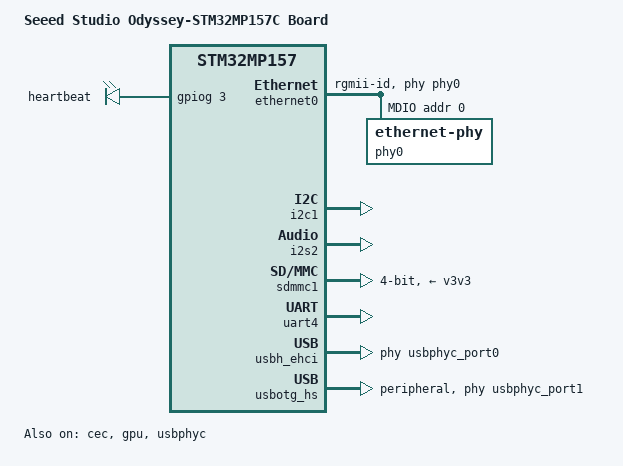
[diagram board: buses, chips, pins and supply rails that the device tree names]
// SPDX-License-Identifier: (GPL-2.0+ OR BSD-3-Clause)
/*
 * Copyright (C) 2020 Marcin Sloniewski <marcin.sloniewski@gmail.com>
 */

/dts-v1/;

#include "stm32mp157c-odyssey-som.dtsi"

/ {

	model = "Seeed Studio Odyssey-STM32MP157C Board";
	compatible = "seeed,odyssey-stm32mp157c", "st,stm32mp157";

	aliases {
		ethernet0 = &ethernet0;
		serial0 = &uart4;
	};

	chosen {
		stdout-path = "serial0:115200n8";
	};

	led {
		compatible = "gpio-leds";
		blue {
			label = "heartbeat";
			gpios = <&gpiog 3 GPIO_ACTIVE_HIGH>;
			linux,default-trigger = "heartbeat";
			default-state = "off";
		};
	};

};

&adc {
	pinctrl-names = "default";
	pinctrl-0 = <&adc12_ain_pins_a>, <&adc12_usb_cc_pins_a>;
	vdd-supply = <&vdd>;
	vdda-supply = <&vdd>;
	vref-supply = <&vrefbuf>;
	status = "disabled";
	adc1: adc@0 {
		/*
		 * Type-C USB_PWR_CC1 & USB_PWR_CC2 on in18 & in19.
		 * Use at least 5 * RC time, e.g. 5 * (Rp + Rd) * C:
		 * 5 * (56 + 47kOhms) * 5pF => 2.5us.
		 * Use arbitrary margin here (e.g. 5us).
		 */
		st,min-sample-time-nsecs = <5000>;
		/* AIN connector, USB Type-C CC1 & CC2 */
		st,adc-channels = <0 1 6 13 18 19>;
		status = "okay";
	};
	adc2: adc@100 {
		/* AIN connector, USB Type-C CC1 & CC2 */
		st,adc-channels = <0 1 2 6 18 19>;
		st,min-sample-time-nsecs = <5000>;
		status = "okay";
	};
};

&cec {
	pinctrl-names = "default", "sleep";
	pinctrl-0 = <&cec_pins_b>;
	pinctrl-1 = <&cec_sleep_pins_b>;
	status = "okay";
};

&ethernet0 {
	status = "okay";
	pinctrl-0 = <&ethernet0_rgmii_pins_a>;
	pinctrl-1 = <&ethernet0_rgmii_sleep_pins_a>;
	pinctrl-names = "default", "sleep";
	phy-mode = "rgmii-id";
	max-speed = <1000>;
	phy-handle = <&phy0>;

	mdio0 {
		#address-cells = <1>;
		#size-cells = <0>;
		compatible = "snps,dwmac-mdio";
		phy0: ethernet-phy@0 {
			reg = <0>;
		};
	};
};

&gpu {
	contiguous-area = <&gpu_reserved>;
	status = "okay";
};

&i2c1 {
	pinctrl-names = "default", "sleep";
	pinctrl-0 = <&i2c1_pins_a>;
	pinctrl-1 = <&i2c1_sleep_pins_a>;
	i2c-scl-rising-time-ns = <100>;
	i2c-scl-falling-time-ns = <7>;
	status = "okay";
	/delete-property/dmas;
	/delete-property/dma-names;
};

&i2s2 {
	clocks = <&rcc SPI2>, <&rcc SPI2_K>, <&rcc PLL3_Q>, <&rcc PLL3_R>;
	clock-names = "pclk", "i2sclk", "x8k", "x11k";
	pinctrl-names = "default", "sleep";
	pinctrl-0 = <&i2s2_pins_a>;
	pinctrl-1 = <&i2s2_sleep_pins_a>;
	status = "okay";
};

&pwr_regulators {
	vdd-supply = <&vdd>;
	vdd_3v3_usbfs-supply = <&vdd_usb>;
};

&sdmmc1 {
	pinctrl-names = "default", "opendrain", "sleep";
	pinctrl-0 = <&sdmmc1_b4_pins_a>;
	pinctrl-1 = <&sdmmc1_b4_od_pins_a>;
	pinctrl-2 = <&sdmmc1_b4_sleep_pins_a>;
	broken-cd;
	disable-wp;
	st,neg-edge;
	bus-width = <4>;
	vmmc-supply = <&v3v3>;
	status = "okay";
};

&uart4 {
	pinctrl-names = "default";
	pinctrl-0 = <&uart4_pins_a>;
	/delete-property/dmas;
	/delete-property/dma-names;
	status = "okay";
};

&usbh_ehci {
	phys = <&usbphyc_port0>;
	status = "okay";
};

&usbotg_hs {
	dr_mode = "peripheral";
	phys = <&usbphyc_port1 0>;
	phy-names = "usb2-phy";
	status = "okay";
};

&usbphyc {
	status = "okay";
};

&usbphyc_port0 {
	phy-supply = <&vdd_usb>;
};

&usbphyc_port1 {
	phy-supply = <&vdd_usb>;
};

